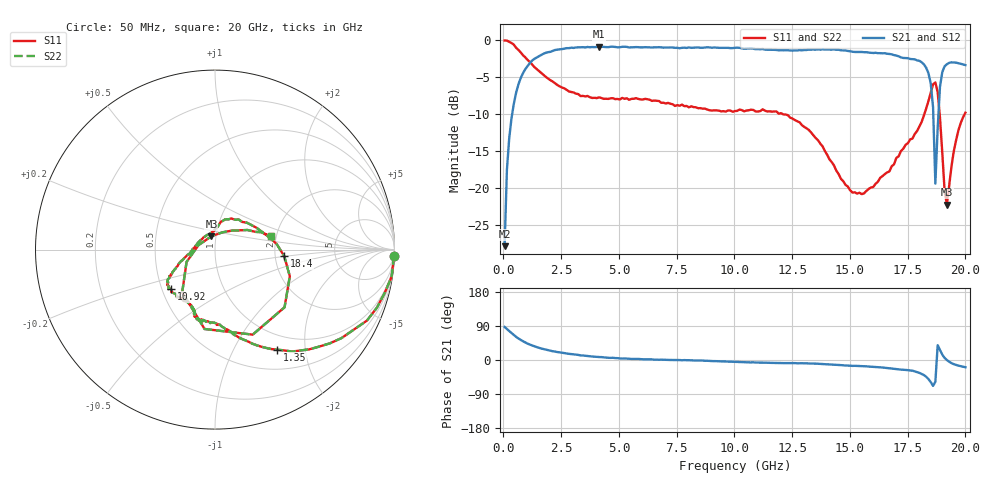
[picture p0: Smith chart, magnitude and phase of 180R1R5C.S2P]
!  American Technical Ceramics  Date:  3/13/98
!  One Norden Lane
!  Huntington Station,  NY.  11746-2102
!  Tel:  (516) 547-5700  Fax:  (516) 547-5748
!  Part Number  180r1r5c
!  Description: Porcelain, High Q, Low ESR
!  Application: Bypass, Coupling, Timing, Feedback
!  Tuning, Impedance Match, Blocking
# GHZ S DB R 50
! Freq  |S11|  S11 Ph  |S21|  S21 Ph  |S12|  S12 Ph  |S22|  S22 Ph
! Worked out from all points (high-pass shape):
!   201 points, 50 MHz to 20 GHz, reference 50 ohm
!   highest |S21| = -0.85 dB at 4.14 GHz (marker M1); lowest = -27.9 dB at 50 MHz (marker M2)
!   |S21| within 3 dB of the highest: 959.5 MHz to 18.32 GHz (17.36 GHz wide, 180 % of centre); 19.06 GHz to end of sweep
!   lowest |S11| = -22.3 dB at 19.2 GHz (marker M3), VSWR 1.17, Z = 47.6 + j7.13 ohm
!   |S11| at or under -10 dB: 12.1 GHz to 18.22 GHz (6.126 GHz wide, 40.4 % of centre); 18.89 GHz to 19.97 GHz (1.083 GHz wide, 5.57 % of centre)
!   |S22| runs from -22.3 to 0.0 dB; largest |S21 - S12| = 0
!   S11 on the Smith chart (normalised r, x): 50 MHz: 3, -55; 1.35 GHz: 0.77, -1.51; 10.92 GHz: 0.56, -0.27; 18.4 GHz: 2.25, -0.19; 20 GHz: 1.88, +0.31
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0.05  -0.02 -2.1  -27.89 87.2  -27.89 87.2  -0.02 -2.1
0.15  -0.04 -8.8  -17.53 81.7  -17.53 81.7  -0.04 -8.8
0.35  -0.37 -19.7  -10.52 71.3  -10.52 71.3  -0.37 -19.7
0.75  -1.65 -39.1  -5.09 53.0  -5.09 53.0  -1.65 -39.1
1.35  -3.66 -58.2  -2.49 35.9  -2.49 35.9  -3.66 -58.2
3.44  -7.53 -87.6  -0.93 12.0  -0.93 12.0  -7.53 -87.6
4.14  -7.73 -93.7  -0.85 7.8  -0.85 7.8  -7.73 -93.7
6.73  -8.22 -107.0  -0.93 0.6  -0.93 0.6  -8.22 -107.0
10.03  -9.58 -126.4  -1.01 -4.8  -1.01 -4.8  -9.58 -126.4
10.92  -9.64 -138.2  -1.20 -6.8  -1.20 -6.8  -9.64 -138.2
13.42  -12.88 -156.4  -1.25 -9.4  -1.25 -9.4  -12.88 -156.4
15.11  -20.63 141.4  -1.55 -15.5  -1.55 -15.5  -20.63 141.4
16.71  -17.76 82.9  -1.85 -21.9  -1.85 -21.9  -17.76 82.9
18.01  -11.65 27.6  -2.78 -34.0  -2.78 -34.0  -11.65 27.6
18.4  -8.23 -5.4  -4.45 -50.3  -4.45 -50.3  -8.23 -5.4
18.6  -5.96 -39.7  -9.06 -68.3  -9.06 -68.3  -5.96 -39.7
18.7  -5.71 -66.1  -19.42 -57.6  -19.42 -57.6  -5.71 -66.1
18.9  -10.48 -127.6  -6.28 26.5  -6.28 26.5  -10.48 -127.6
19.1  -20.39 165.2  -3.52 5.5  -3.52 5.5  -20.39 165.2
19.2  -22.26 104.8  -3.24 -0.1  -3.24 -0.1  -22.26 104.8
19.5  -14.98 37.2  -3.00 -11.1  -3.00 -11.1  -14.98 37.2
20  -9.81 13.2  -3.36 -19.1  -3.36 -19.1  -9.81 13.2
